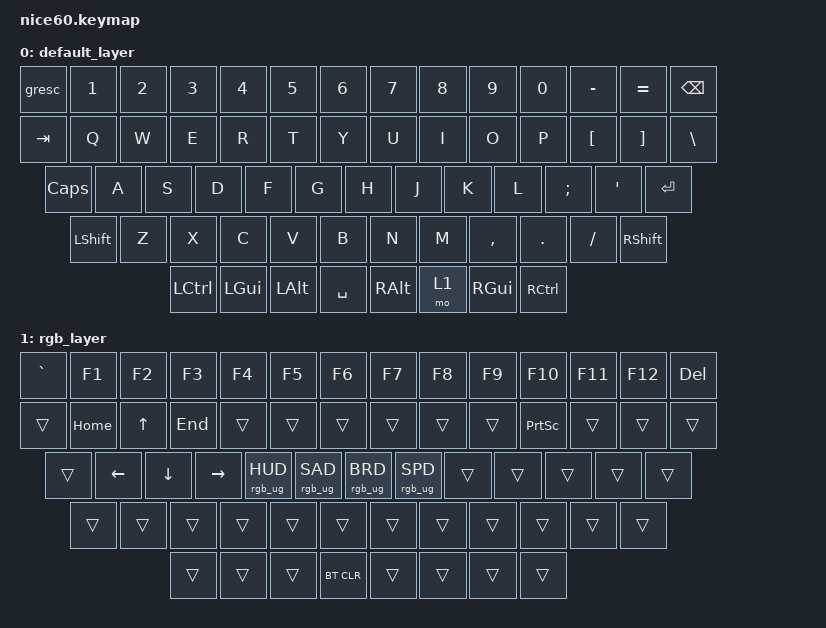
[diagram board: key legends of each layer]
/*
 * Copyright (c) 2021 Nick Winans
 *
 * SPDX-License-Identifier: MIT
 */

#include <behaviors.dtsi>
#include <dt-bindings/zmk/keys.h>
#include <dt-bindings/zmk/rgb.h>
#include <dt-bindings/zmk/bt.h>
#include <dt-bindings/zmk/outputs.h>
#include <dt-bindings/zmk/reset.h>
#include <dt-bindings/zmk/ext_power.h>

/ {
	keymap {
		compatible = "zmk,keymap";
		
		default_layer {
// ------------------------------------------------------------------------------------------
// | ESC |  1  |  2  |  3  |  4  |  5  |  6  |  7  |  8  |  9  |  0  |  -  |  =  |   BKSP   |
// | TAB  |  Q  |  W  |  E  |  R  |  T  |  Y  |  U  |  I  |  O  |  P  |  [  |  ]  |   "|"   |
// | CAPS  |  A  |  S  |  D  |  F  |  G  |  H  |  J  |  K  |  L  |  ;  |  '  |     ENTER    |
// |  SHIFT  |  Z  |  X  |  C  |  V  |  B  |  N  |  M  |  ,  |  .  |  /  |      SHIFT       |
// |  CTL  |  WIN  |  ALT  |            SPACE              |  ALT  | MO(1) |   WIN  |  CTL  |
// ------------------------------------------------------------------------------------------
			bindings = <
	&gresc  &kp N1 &kp N2 &kp N3 &kp N4 &kp N5 &kp N6 &kp N7 &kp N8 &kp N9 &kp N0 &kp MINUS &kp EQUAL  &kp BSPC
	&kp TAB  &kp Q  &kp W  &kp E  &kp R  &kp T  &kp Y  &kp U  &kp I  &kp O  &kp P  &kp LBKT  &kp RBKT  &kp BSLH
	&kp CLCK  &kp A  &kp S  &kp D  &kp F  &kp G  &kp H  &kp J  &kp K  &kp L  &kp SEMI &kp SQT           &kp RET
	&kp LSHFT   &kp Z  &kp X  &kp C  &kp V  &kp B  &kp N  &kp M  &kp COMMA &kp DOT &kp FSLH           &kp RSHFT
	&kp LCTRL &kp LGUI &kp LALT             &kp SPACE                     &kp RALT  &mo 1  &kp RGUI   &kp RCTRL
			>;
		};

		rgb_layer {
// ------------------------------------------------------------------------------------------------
// | BT CLR | F1  | F2  | F3  | F4  | F5  | F6  | F7  | F8  | F9  | F10  | F11 | F12 |  DELETE    |
// |  BT 1   | HOME |  UP | END |      |      |      |      |      |     |    |     |     |      |
// |   BT 2   | LT |  DN  | RT |      |      |      |      |   |     |   |     |              |
// |    BT 3     |     |      |      |     |     |     |     |     |     |     |                  |
// |   BT 4  |      |      |             TOG RGB                | PRT SCR |       |       |       |
// ------------------------------------------------------------------------------------------------
			bindings = <
	&kp GRAVE  &kp F1    &kp F2    &kp F3  &kp F4           &kp F5          &kp F6          &kp F7          &kp F8   &kp F9   &kp F10  &kp F11 &kp F12  &kp DEL
	&trans &kp HOME    &kp UP    &kp END  &trans &trans &trans &trans  &trans   &trans   &kp PSCRN  &trans  &trans          &trans 
	&trans   &kp LEFT  &kp DOWN  &kp RIGHT &rgb_ug RGB_HUD &rgb_ug RGB_SAD &rgb_ug RGB_BRD &rgb_ug RGB_SPD &trans   &trans   &trans   &trans        &trans
	&trans    &trans    &trans    &trans   &trans          &trans          &trans          &trans          &trans   &trans   &trans                          &trans
	&trans  &trans   &trans                            &bt BT_CLR                                      &trans     &trans      &trans               &trans
			>;
		};
	};
};
